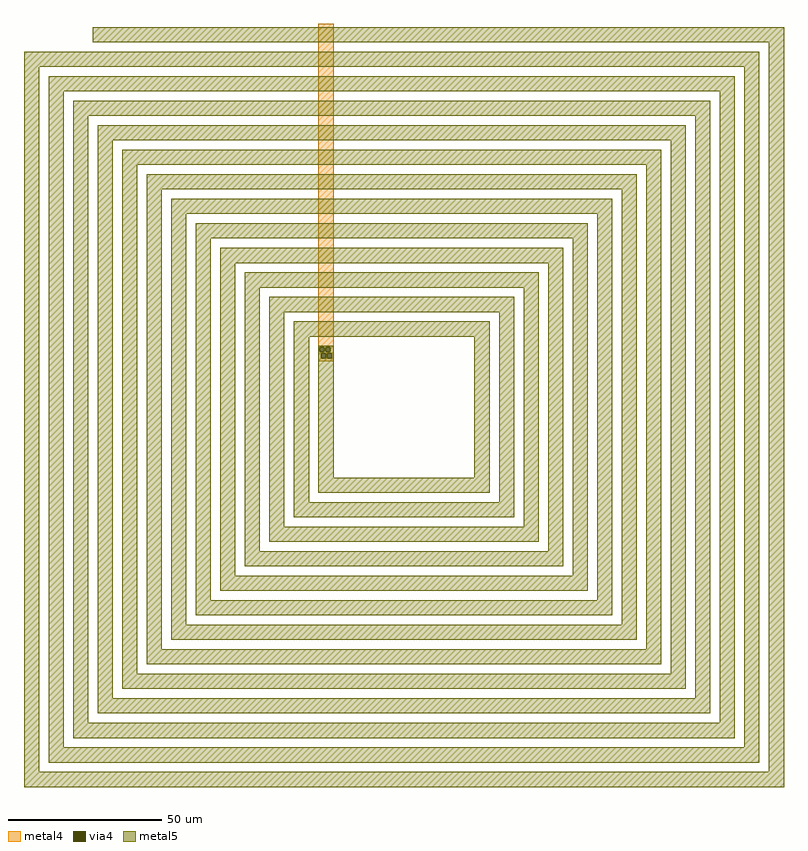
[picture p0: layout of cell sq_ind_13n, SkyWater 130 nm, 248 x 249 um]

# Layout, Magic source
magic
tech sky130B
<< metal4 >>
rect 2700 -3550 3200 7000
rect 2700 -3700 2750 -3550
rect 2900 -3700 2950 -3550
rect 3100 -3700 3200 -3550
rect 2700 -3750 3200 -3700
rect 2700 -3900 2800 -3750
rect 2950 -3900 3000 -3750
rect 3150 -3900 3200 -3750
rect 2700 -4000 3200 -3900
<< via4 >>
rect 2750 -3700 2900 -3550
rect 2950 -3700 3100 -3550
rect 2800 -3900 2950 -3750
rect 3000 -3900 3150 -3750
<< metal5 >>
rect -4650 6400 17900 6900
rect -6900 5600 17100 6100
rect -6900 -17400 -6400 5600
rect -6100 4800 16300 5300
rect -6100 -16600 -5600 4800
rect -5300 4000 15500 4500
rect -5300 -15800 -4800 4000
rect -4500 3200 14700 3700
rect -4500 -15000 -4000 3200
rect -3700 2400 13900 2900
rect -3700 -14200 -3200 2400
rect -2900 1600 13100 2100
rect -2900 -13400 -2400 1600
rect -2100 800 12300 1300
rect -2100 -12600 -1600 800
rect -1300 0 11500 500
rect -1300 -11800 -800 0
rect -500 -800 10700 -300
rect -500 -11000 0 -800
rect 300 -1600 9900 -1100
rect 300 -10200 800 -1600
rect 1100 -2400 9100 -1900
rect 1100 -9400 1600 -2400
rect 1900 -3200 8300 -2700
rect 1900 -8600 2400 -3200
rect 2700 -3550 3200 -3500
rect 2700 -3700 2750 -3550
rect 2900 -3700 2950 -3550
rect 3100 -3700 3200 -3550
rect 2700 -3750 3200 -3700
rect 2700 -3900 2800 -3750
rect 2950 -3900 3000 -3750
rect 3150 -3900 3200 -3750
rect 2700 -7800 3200 -3900
rect 7800 -7800 8300 -3200
rect 2700 -8300 8300 -7800
rect 8600 -8600 9100 -2400
rect 1900 -9100 9100 -8600
rect 9400 -9400 9900 -1600
rect 1100 -9900 9900 -9400
rect 10200 -10200 10700 -800
rect 300 -10700 10700 -10200
rect 11000 -11000 11500 0
rect -500 -11500 11500 -11000
rect 11800 -11800 12300 800
rect -1300 -12300 12300 -11800
rect 12600 -12600 13100 1600
rect -2100 -13100 13100 -12600
rect 13400 -13400 13900 2400
rect -2900 -13900 13900 -13400
rect 14200 -14200 14700 3200
rect -3700 -14700 14700 -14200
rect 15000 -15000 15500 4000
rect -4500 -15500 15500 -15000
rect 15800 -15800 16300 4800
rect -5300 -16300 16300 -15800
rect 16600 -16600 17100 5600
rect -6100 -17100 17100 -16600
rect 17400 -17400 17900 6400
rect -6900 -17900 17900 -17400
<< end >>
